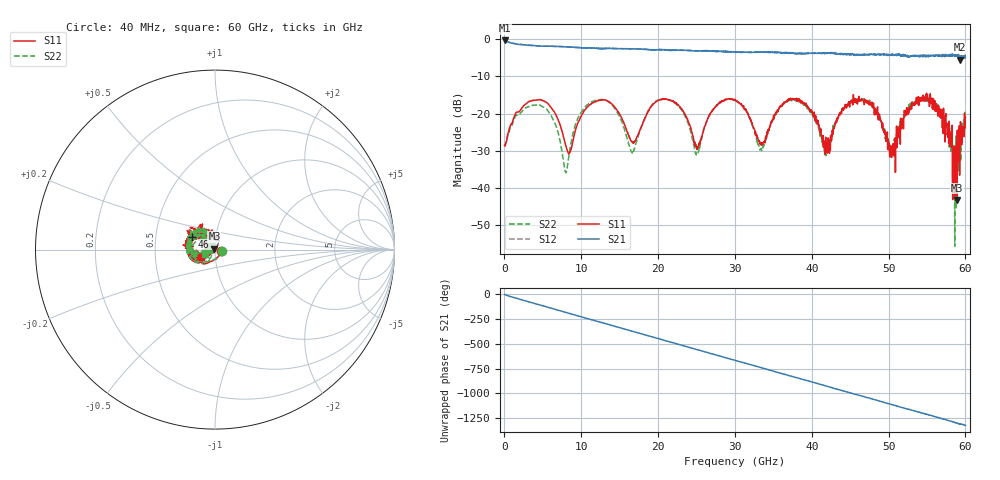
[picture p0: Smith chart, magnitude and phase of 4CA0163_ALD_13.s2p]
! File created by 'SoftPlot +Plus+ Measurement Management Software'
! SoftPlot +Plus+ Measurement Management Software
! Start 40.000000 MHz  Stop 60.000000 GHz  Points 1601
# MHZ S RI R 50
! S-Parameter data, F S11 S21 S12 S22
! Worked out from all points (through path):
!   1601 points, 40 MHz to 60 GHz, reference 50 ohm
!   highest |S21| = -0.37 dB at 40 MHz (marker M1); lowest = -5.6 dB at 59.29 GHz (marker M2)
!   group delay of S21, straight-line fit = 60.9 ps
!   lowest |S11| = -43.2 dB at 58.91 GHz (marker M3), VSWR 1.01, Z = 49.7 + j0.603 ohm
!   |S11| at or under -10 dB: start of sweep to end of sweep
!   |S22| runs from -55.6 to -14.9 dB; largest |S21 - S12| = 0.07
!   S11 on the Smith chart (normalised r, x): 40 MHz: 1.07, -0.02; 46.7 GHz: 0.76, +0.11; 60 GHz: 0.85, -0.07
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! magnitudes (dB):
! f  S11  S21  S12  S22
! 40 MHz  -28.5  -0.4  -0.4  -28.3
! 4.762 GHz  -16.3  -1.9  -1.9  -17.9
! 8.022 GHz  -28.7  -2.1  -2.1  -35.9
! 10.05 GHz  -20.5  -2.4  -2.3  -19.5
! 13.61 GHz  -16.8  -2.5  -2.5  -16.9
! 16.64 GHz  -27.6  -2.6  -2.6  -30.6
! 20.05 GHz  -16.5  -2.9  -2.8  -16.4
! 23.01 GHz  -18.6  -3.0  -3.0  -18.8
! 25.04 GHz  -29.1  -3.2  -3.1  -30.9
! 27.13 GHz  -18.9  -3.1  -3.2  -18.9
! 30.02 GHz  -16.3  -3.4  -3.4  -16.4
! 33.43 GHz  -28.4  -3.5  -3.5  -29.4
! 36.69 GHz  -16.6  -3.7  -3.6  -16.9
! 40.03 GHz  -19.5  -3.8  -3.8  -20.0
! 41.94 GHz  -28.6  -3.8  -3.7  -29.3
! 43.96 GHz  -19.1  -4.1  -4.1  -18.9
! 46.7 GHz  -16.6  -4.1  -4.3  -16.0
! 50.03 GHz  -27.9  -4.2  -4.2  -27.5
! 54.98 GHz  -16.4  -4.5  -4.5  -15.7
! 58.91 GHz  -43.2  -4.4  -4.4  -36.2
! 59.29 GHz  -24.6  -5.6  -4.6  -26.3
! 60 GHz  -21.1  -5.0  -5.0  -24.1
